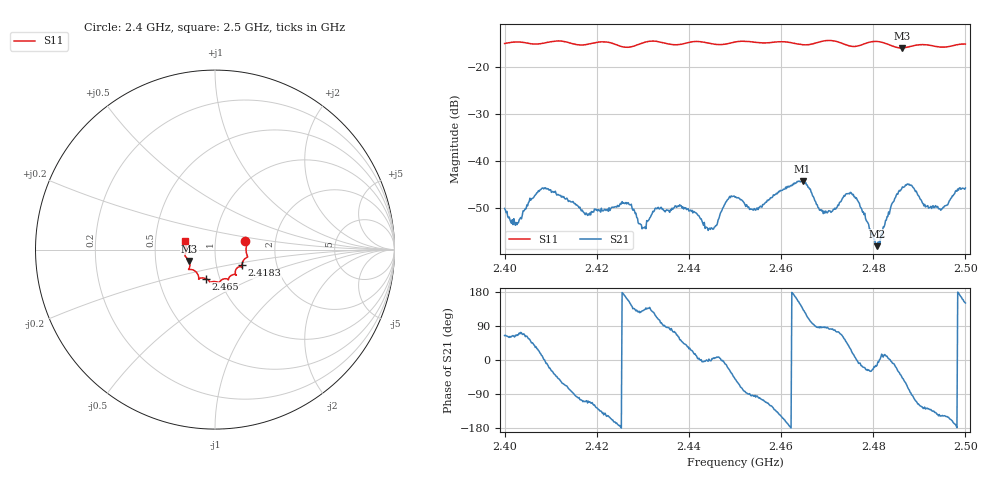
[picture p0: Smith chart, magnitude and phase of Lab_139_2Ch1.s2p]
# Hz S RI R 50
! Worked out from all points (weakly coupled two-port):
!   601 points, 2.4 GHz to 2.5 GHz, reference 50 ohm
!   highest |S21| = -44.20 dB at 2.4647 GHz (marker M1); lowest = -58.0 dB at 2.4808 GHz (marker M2)
!   lowest |S11| = -16.1 dB at 2.4862 GHz (marker M3), VSWR 1.37, Z = 37.2 - j4.84 ohm
!   |S11| at or under -10 dB: start of sweep to end of sweep
!   S12 and S22 are empty: the file has one direction only
!   S11 on the Smith chart (normalised r, x): 2.4 GHz: 1.40, +0.14; 2.4183 GHz: 1.33, -0.24; 2.465 GHz: 0.86, -0.28; 2.5 GHz: 0.71, +0.07
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2.4e9  0.1688 0.0469  0.00135 0.00285  0 0  0 0
2.402667e9  0.179 0.0347  0.000856 0.00195  0 0  0 0
2.408667e9  0.1762 -0.0233  0.00521 2.58e-05  0 0  0 0
2.416667e9  0.1547 -0.0681  -0.000796 -0.00287  0 0  0 0
2.418333e9  0.1502 -0.0868  -0.000957 -0.00252  0 0  0 0
2.426333e9  0.1227 -0.1024  -0.00353 0.000961  0 0  0 0
2.430167e9  0.1143 -0.1379  -0.00129 0.0015  0 0  0 0
2.433333e9  0.1174 -0.141  -0.000984 0.0031  0 0  0 0
2.4385e9  0.0803 -0.1529  0.00213 0.00238  0 0  0 0
2.444667e9  0.0643 -0.1628  0.00189 -6.46e-05  0 0  0 0
2.45e9  0.0259 -0.1798  0.00268 -0.00318  0 0  0 0
2.4545e9  0.0114 -0.1798  -0.000422 -0.003  0 0  0 0
2.464667e9  -0.0491 -0.1628  -0.00442 0.00431  0 0  0 0
2.465e9  -0.0525 -0.1614  -0.00386 0.00468  0 0  0 0
2.466667e9  -0.071 -0.1575  -0.000624 0.00454  0 0  0 0
2.469667e9  -0.0909 -0.1644  0.000175 0.00296  0 0  0 0
2.4755e9  -0.1052 -0.1247  0.0042 0.00137  0 0  0 0
2.480833e9  -0.1475 -0.1104  0.00123 -0.000297  0 0  0 0
2.483333e9  -0.141 -0.0967  0.0029 0.000211  0 0  0 0
2.486167e9  -0.1437 -0.0635  0.00368 -0.00353  0 0  0 0
2.494667e9  -0.1605 -0.000637  -0.00256 -0.00161  0 0  0 0
2.5e9  -0.1664 0.0469  -0.00453 0.00256  0 0  0 0
